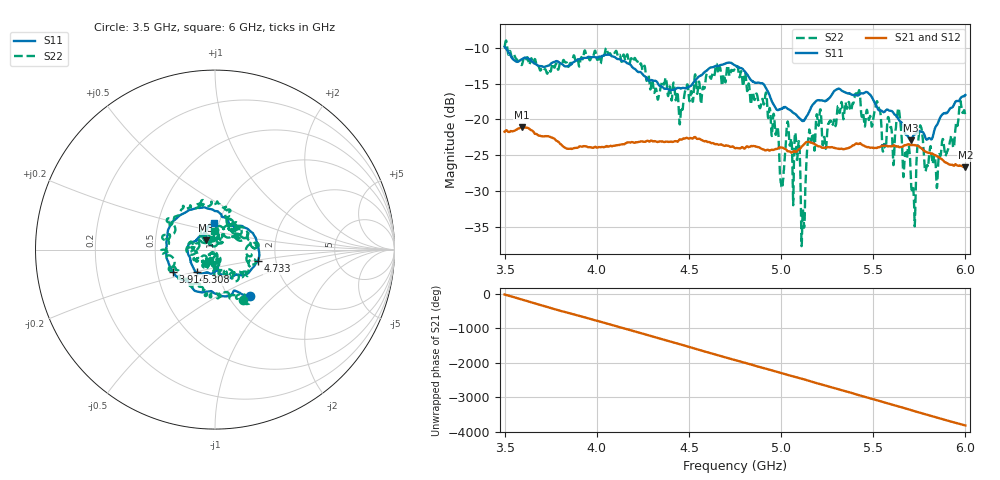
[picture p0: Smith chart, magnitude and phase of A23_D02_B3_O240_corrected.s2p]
! Created with skrf 1.9.0 (http://scikit-rf.org).
# Hz S RI R 50.0
!freq ReS11 ImS11 ReS21 ImS21 ReS12 ImS12 ReS22 ImS22
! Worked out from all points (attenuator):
!   1601 points, 3.5 GHz to 6 GHz, reference 50 ohm
!   highest |S21| = -21.12 dB at 3.592 GHz (marker M1); lowest = -26.7 dB at 6 GHz (marker M2)
!   lowest |S11| = -23.0 dB at 5.703 GHz (marker M3), VSWR 1.15, Z = 45.1 + j4.68 ohm
!   |S11| at or under -10 dB: 3.504 GHz to end of sweep
!   |S22| runs from -37.7 to -9.0 dB; largest |S21 - S12| = 0.00099
!   S11 on the Smith chart (normalised r, x): 3.5 GHz: 1.25, -0.72; 3.914 GHz: 0.61, -0.16; 4.733 GHz: 1.61, -0.21; 5.308 GHz: 0.79, -0.21; 6 GHz: 0.94, +0.28
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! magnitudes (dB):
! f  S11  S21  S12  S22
! 3.5 GHz  -9.9  -21.7  -21.7  -9.8
! 3.592 GHz  -11.6  -21.1  -21.1  -12.4
! 3.914 GHz  -11.6  -23.8  -23.8  -11.4
! 3.917 GHz  -11.5  -23.8  -23.8  -11.3
! 4.334 GHz  -15.1  -23.1  -23.1  -17.0
! 4.733 GHz  -12.2  -23.8  -23.8  -13.1
! 4.75 GHz  -12.5  -24.0  -24.0  -13.1
! 4.927 GHz  -16.0  -24.2  -24.2  -18.8
! 5.005 GHz  -18.5  -23.9  -24.0  -29.1
! 5.034 GHz  -18.5  -24.4  -24.4  -20.4
! 5.088 GHz  -19.5  -24.4  -24.4  -25.7
! 5.119 GHz  -20.2  -23.7  -23.6  -32.6
! 5.147 GHz  -19.2  -23.2  -23.1  -22.9
! 5.167 GHz  -18.1  -23.3  -23.3  -22.5
! 5.308 GHz  -15.7  -24.1  -24.0  -18.2
! 5.584 GHz  -18.7  -23.8  -23.7  -19.8
! 5.639 GHz  -20.1  -23.9  -23.8  -18.5
! 5.703 GHz  -23.0  -23.6  -23.6  -27.6
! 5.719 GHz  -22.2  -23.6  -23.6  -30.2
! 5.755 GHz  -21.7  -23.9  -23.9  -20.8
! 5.848 GHz  -20.7  -25.2  -25.2  -28.6
! 6 GHz  -16.6  -26.7  -26.6  -19.6
